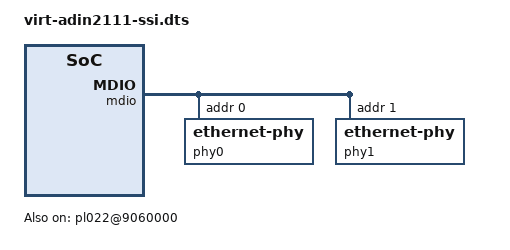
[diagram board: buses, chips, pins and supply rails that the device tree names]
/dts-v1/;

/ {
    interrupt-parent = <0x8001>;
    #size-cells = <0x02>;
    #address-cells = <0x02>;
    compatible = "linux,dummy-virt";

    pl022@9060000 {
        compatible = "arm,pl022", "arm,primecell";
        reg = <0x00 0x09060000 0x00 0x00001000>;
        interrupts = <0x00 0x0a 0x04>;
        clocks = <0x8000 0x8000>;
        clock-names = "sspclk", "apb_pclk";
        #address-cells = <0x01>;
        #size-cells = <0x00>;
        num-cs = <0x01>;
        status = "okay";
        
        adin2111@0 {
            compatible = "adi,adin2111";
            reg = <0x00>;
            spi-max-frequency = <25000000>;
            interrupts = <0x00 0x0b 0x04>;
            reset-gpios = <0x8002 0x00 0x00>;
            status = "okay";
            
            /* PHY configuration */
            phy-mode = "internal";
            
            /* Switch mode configuration */
            adi,switch-mode;
            
            /* Port configuration */
            ports {
                #address-cells = <0x01>;
                #size-cells = <0x00>;
                
                port@0 {
                    reg = <0x00>;
                    label = "eth0";
                    phy-handle = <&phy0>;
                };
                
                port@1 {
                    reg = <0x01>;
                    label = "eth1";
                    phy-handle = <&phy1>;
                };
            };
            
            mdio {
                #address-cells = <0x01>;
                #size-cells = <0x00>;
                
                phy0: ethernet-phy@0 {
                    reg = <0x00>;
                };
                
                phy1: ethernet-phy@1 {
                    reg = <0x01>;
                };
            };
        };
    };
};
